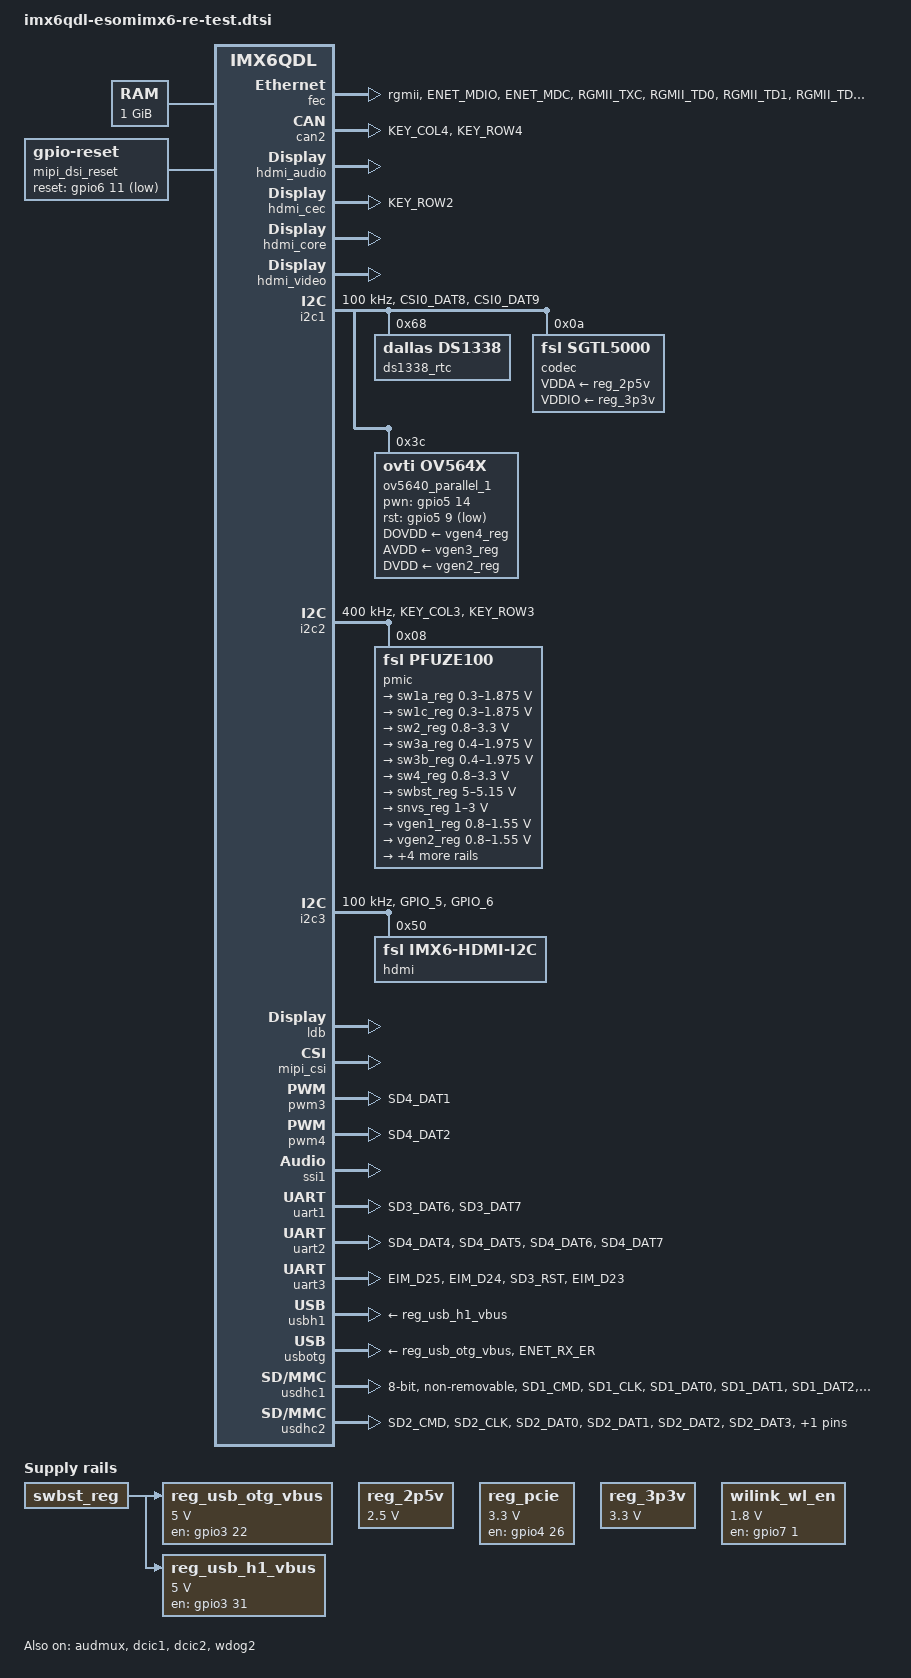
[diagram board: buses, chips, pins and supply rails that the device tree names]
/*
 * Copyright 2012-2015 Freescale Semiconductor, Inc.
 * Copyright 2011 Linaro Ltd.
 *
 * The code contained herein is licensed under the GNU General Public
 * License. You may obtain a copy of the GNU General Public License
 * Version 2 or later at the following locations:
 *
 * http://www.opensource.org/licenses/gpl-license.html
 * http://www.gnu.org/copyleft/gpl.html
 */

#include <dt-bindings/gpio/gpio.h>
#include <dt-bindings/input/input.h>

/ {
	aliases {
		mxcfb0 = &mxcfb1;
		mxcfb1 = &mxcfb2;
		mxcfb2 = &mxcfb3;
		mxcfb3 = &mxcfb4;
	};

	hannstar_cabc {
		compatible = "hannstar,cabc";
		lvds0 {
			gpios = <&gpio6 15 GPIO_ACTIVE_HIGH>;
		};
		lvds1 {
			gpios = <&gpio6 16 GPIO_ACTIVE_HIGH>;
		};
	};

	chosen {
		stdout-path = &uart1;
	};

	memory: memory {
		reg = <0x10000000 0x40000000>;
	};

	regulators {
		compatible = "simple-bus";
		#address-cells = <1>;
		#size-cells = <0>;

		reg_usb_otg_vbus: regulator@0 {
			compatible = "regulator-fixed";
			reg = <0>;
			regulator-name = "usb_otg_vbus";
			regulator-min-microvolt = <5000000>;
			regulator-max-microvolt = <5000000>;
			gpio = <&gpio3 22 0>;
			enable-active-high;
			vin-supply = <&swbst_reg>;
		};

		reg_usb_h1_vbus: regulator@1 {
			compatible = "regulator-fixed";
			reg = <1>;
			regulator-name = "usb_h1_vbus";
			regulator-min-microvolt = <5000000>;
			regulator-max-microvolt = <5000000>;
			gpio = <&gpio3 31 0>;
			enable-active-high;
			vin-supply = <&swbst_reg>;
		};

		reg_2p5v: regulator@2 {
			compatible = "regulator-fixed";
			reg = <2>;
			regulator-name = "2P5V";
			regulator-min-microvolt = <2500000>;
			regulator-max-microvolt = <2500000>;
			regulator-always-on;
		};

		reg_pcie: regulator@3 {
			compatible = "regulator-fixed";
			reg = <3>;
			pinctrl-names = "default";
			pinctrl-0 = <&pinctrl_pcie_reg>;
			regulator-name = "MPCIE_3V3";
			regulator-min-microvolt = <3300000>;
			regulator-max-microvolt = <3300000>;
			gpio = <&gpio4 26 0>;
			regulator-always-on;
			enable-active-high;
		};

		reg_3p3v: regulator@4 {
			compatible = "regulator-fixed";
			reg = <4>;
			regulator-name = "3P3V";
			regulator-min-microvolt = <3300000>;
			regulator-max-microvolt = <3300000>;
			regulator-always-on;
		};

		wilink_wl_en: regulator@5 {
			compatible = "regulator-fixed";
			reg = <5>;
			regulator-name = "wilink_wl_en";
			regulator-min-microvolt = <1800000>;
			regulator-max-microvolt = <1800000>;
			gpio = <&gpio7 1 0>; /* WIFI ENABLE GPIO */
			startup-delay-us = <70000>;
			output_high;
			enable-active-high;
		};

	};

	sound {
		compatible = "fsl,imx6q-esomimx6-sgtl5000",
			     "fsl,imx-audio-sgtl5000";
		model = "imx6q-esomimx6-sgtl5000";
		ssi-controller = <&ssi1>; /* not sure to which SSI ANKAA is connected to */
		audio-codec = <&codec>;
		asrc-controller = <&asrc>;
		audio-routing =
			"MIC_IN", "Mic Jack",
			"Mic Jack", "Mic Bias",
			"Headphone Jack", "HP_OUT";
		mux-int-port = <1>;
		mux-ext-port = <3>;
	};

	sound-hdmi {
		compatible = "fsl,imx6q-audio-hdmi",
			     "fsl,imx-audio-hdmi";
		model = "imx-audio-hdmi";
		hdmi-controller = <&hdmi_audio>;
	};
#if 0
	wlan {
		compatible = "ti,wilink8";
		interrupt-parent = <&gpio1>;
		interrupts = <07 0x04>;
		clocks = <&refclock>;
		clock-names = "refclock";
		 WiFi module enable GPIO; Required for proper fucntioning of WIFI down and up*/
/*		pwr-enable = <&gpio7 1 0>;

		refclock: refclock {
			compatible = "ti,wilink-clock";
			#clock-cells = <0>;
			clock-frequency = <38400000>;
		};
	};
*/
	wlan_bt_rfkill {
		compatible = "net,rfkill-gpio";
		name = "wlan_bt_rfkill";
		type = <2>;     /* bluetooth */
		gpios = <&gpio4 5 0>; /* BT enable */
	};
#endif
	mxcfb1: fb@0 {
		compatible = "fsl,mxc_sdc_fb";
		disp_dev = "ldb";
		interface_pix_fmt = "RGB666";
		default_bpp = <16>;
		int_clk = <0>;
		late_init = <0>;
		status = "disabled";
	};

	mxcfb2: fb@1 {
		compatible = "fsl,mxc_sdc_fb";
		disp_dev = "hdmi";
		interface_pix_fmt = "RGB24";
		mode_str ="1920x1080M@60";
		default_bpp = <24>;
		int_clk = <0>;
		late_init = <0>;
		status = "disabled";
	};

	mxcfb3: fb@2 {
		compatible = "fsl,mxc_sdc_fb";
		disp_dev = "lcd";
		interface_pix_fmt = "RGB565";
		mode_str ="CLAA-WVGA";
		default_bpp = <16>;
		int_clk = <0>;
		late_init = <0>;
		status = "disabled";
	};

	mxcfb4: fb@3 {
		compatible = "fsl,mxc_sdc_fb";
		disp_dev = "ldb";
		interface_pix_fmt = "RGB666";
		default_bpp = <16>;
		int_clk = <0>;
		late_init = <0>;
		status = "disabled";
	};
#if 0
	backlight_lvds0 {
		compatible = "pwm-backlight";
		pwms = <&pwm3 0 5000000>;
		brightness-levels = <0 4 8 16 32 64 128 255>;
		default-brightness-level = <7>;
 	};

	backlight_lvds1{
		compatible = "pwm-backlight";
		pwms = <&pwm4 0 5000000>;
		brightness-levels = <0 4 8 16 32 64 128 255>;
		default-brightness-level = <7>;
	};
#endif
	v4l2_cap_0 {
		compatible = "fsl,imx6q-v4l2-capture";
		ipu_id = <0>;
		csi_id = <0>;
		mclk_source = <0>;
		status = "okay";
	};

	v4l2_cap_1 {
		compatible = "fsl,imx6q-v4l2-capture";
		ipu_id = <0>;
		csi_id = <1>;
		mclk_source = <0>;
		status = "okay";
	};

	v4l2_out {
		compatible = "fsl,mxc_v4l2_output";
		status = "okay";
	};

	mipi_dsi_reset: mipi-dsi-reset {
		compatible = "gpio-reset";
		reset-gpios = <&gpio6 11 GPIO_ACTIVE_LOW>;
		reset-delay-us = <50>;
		#reset-cells = <0>;
	};
};

&audmux {
	pinctrl-names = "default";
	pinctrl-0 = <&pinctrl_audmux>;
	status = "okay";
};

&cpu0 {
	arm-supply = <&sw1a_reg>;
	soc-supply = <&sw1c_reg>;
};

&clks {
	fsl,ldb-di0-parent = <&clks IMX6QDL_CLK_PLL2_PFD0_352M>;
	fsl,ldb-di1-parent = <&clks IMX6QDL_CLK_PLL2_PFD0_352M>;
};

#if 0
/* eSOMiMX6 does not have SPI NOR flash mounted */
&ecspi1 {
	fsl,spi-num-chipselects = <1>;
	cs-gpios = <&gpio3 19 0>;
	pinctrl-names = "default";
	pinctrl-0 = <&pinctrl_ecspi1>;
	status = "okay";

};
#endif

/* eSOMiMX6 supports two chip selects for ECSPI2; Since CSO is connected to SPI connector in ANKAA
   and CS1 is connected to GPIO header, properties has been defined as if only one chip select is
   supported */
#if 0
&ecspi2 {
	fsl,spi-num-chipselects = <1>;
	cs-gpios = <&gpio2 26 0>;
	pinctrl-names = "default";
	pinctrl-0 = <&pinctrl_ecspi2>;
	status = "okay";
};
#endif
&fec {
	pinctrl-names = "default";
	pinctrl-0 = <&pinctrl_enet>;
	phy-mode = "rgmii";
	phy-reset-gpios = <&gpio1 27 0>;
	fsl,magic-packet;
	status = "okay";
};

/* In ANKAA, CAN1 signals are connected to GPIO header */
#if 0
&can1 {
	pinctrl-names = "default";
	pinctrl-0 = <&pinctrl_can1>;
	status = "okay";
};
#endif

&can2 {
	pinctrl-names = "default";
	pinctrl-0 = <&pinctrl_can2>;
	status = "okay";
};

&gpc {
	fsl,ldo-bypass = <1>;
};

&dcic1 {
	dcic_id = <0>;
	dcic_mux = "dcic-hdmi";
	status = "okay";
};

&dcic2 {
	dcic_id = <1>;
	dcic_mux = "dcic-lvds1";
	status = "okay";
};

&hdmi_audio {
	status = "okay";
};

&hdmi_cec {
	pinctrl-names = "default";
	pinctrl-0 = <&pinctrl_hdmi_cec>;
	status = "okay";
};

&hdmi_core {
	ipu_id = <0>;
	disp_id = <0>;
	status = "okay";
};

&hdmi_video {
	fsl,phy_reg_vlev = <0x0294>;
	fsl,phy_reg_cksymtx = <0x800d>;
	status = "okay";
};

&i2c1 {
	clock-frequency = <100000>;
	pinctrl-names = "default";
	pinctrl-0 = <&pinctrl_i2c1>;
	status = "okay";

	/* esomimx6 : lvds0 touch new driver*/
#if 0
	pixcir_ts@5C {
		compatible = "pixcir,pixcir_tangoc";
		reg = <0x5C>;
		interrupt-parent = <&gpio4>;
		interrupts = <23 2>;
		attb-gpio = <&gpio4 23 0>;
		touchscreen-size-x = <800>;
		touchscreen-size-y = <480>;
        };

	/* esomimx6 : lvds0 touch */
	egalax_ts@04 {
                compatible = "eeti,egalax_ts";
                reg = <0x04>;
                interrupt-parent = <&gpio4>;
                interrupts = <23 2>;
                wakeup-gpios = <&gpio4 23 0>;
        };
#endif
	ds1338_rtc@68 {
		compatible = "dallas,ds1338";
		reg = <0x68>;
	};

	codec: sgtl5000@0a {
		compatible = "fsl,sgtl5000";
		reg = <0x0a>;
		clocks = <&clks 201>;
		VDDA-supply = <&reg_2p5v>;
		VDDIO-supply = <&reg_3p3v>;
	};

	/* ov5640 parallel camera 1 */
	ov5640_parallel_1: ov5640@3c {
		compatible = "ovti,ov564x";
		reg = <0x3c>;
		pinctrl-names = "default";
		pinctrl-0 = <&pinctrl_ipu1_2>;
		clocks = <&clks 201>;
		clock-names = "csi_mclk";
		DOVDD-supply = <&vgen4_reg>; /* 1.8v */
		AVDD-supply = <&vgen3_reg>;  /* 2.8v, on rev C board is VGEN3,
						on rev B board is VGEN5 */
		DVDD-supply = <&vgen2_reg>;  /* 1.5v*/
		pwn-gpios = <&gpio5 14 0>;   /* active low: SD1_DAT0 */
		rst-gpios = <&gpio5 9 1>;   /* active high: SD1_DAT1 */
		ipu_id = <0>;
		csi_id = <0>;
		mclk = <24000000>;
		mclk_source = <0>;
	};
#if 0
	mt9p031_parallel_1: mt9p031@48 {
		compatible = "mt9p031m";
		reg = <0x48>;
		pinctrl-names = "default";
		pinctrl-0 = <&pinctrl_ipu1_2>;
		clocks = <&clks 201>;
		clock-names = "csi_mclk";
		DOVDD-supply = <&vgen4_reg>; /* 1.8v */ /* Not sure of these three values */
		AVDD-supply = <&vgen3_reg>;  /* 2.8v, on rev C board is VGEN3,
						on rev B board is VGEN5 */
		DVDD-supply = <&vgen4_reg>;  /* 1.8v*/
		/* If proper GPIOs are given here, camera modules with proper GPIOs are not working
		   So, GPIOs are not given proper here. TODO: Given proper GPIOs and make camera modules
		   with porper GPIOs to work here
		*/
		pwn-gpios = <&gpio5 14 0>; /* eSOMiMX6*/
		rst-gpios = <&gpio5 9 1>;  /* eSOMiMX6 */
		ipu_id = <0>;
		csi_id = <0>;
		mclk = <24000000>;
		mclk_source = <0>;
	};
	/* ov10633 parallel camera 1 */
	ov10633_parallel_1: ov10633@30 {
		compatible = "ovti,ov10633";
		reg = <0x30>;
		pinctrl-names = "default";
		pinctrl-0 = <&pinctrl_ipu1_2>;
		clocks = <&clks 201>;
		clock-names = "csi_mclk";
		DOVDD-supply = <&vgen4_reg>; /* 1.8v */ /* Not sure of these three values */
 		AVDD-supply = <&vgen3_reg>;  /* 2.8v, on rev C board is VGEN3,
 						on rev B board is VGEN5 */
 		DVDD-supply = <&vgen2_reg>;  /* 1.5v*/
		pwn-gpios = <&gpio5 14 1>; /* eSOMiMX6 */
		rst-gpios = <&gpio5 9 0>; /* eSOMiMX6 */
		ipu_id = <0>;
 		csi_id = <0>;
 		mclk = <24000000>;
 		mclk_source = <0>;
 	};
#endif
};

&i2c2 {
	clock-frequency = <400000>;
	pinctrl-names = "default";
	pinctrl-0 = <&pinctrl_i2c2>;
	status = "okay";
#if 0
	ov5640_mipi: ov5640_mipi@3c { /* i2c2 driver */
		compatible = "ovti,ov5640_mipi";
		reg = <0x3c>;
		clocks = <&clks 201>;
		clock-names = "csi_mclk";
		DOVDD-supply = <&vgen4_reg>; /* 1.8v */
		AVDD-supply = <&vgen3_reg>;  /* 2.8v, rev C board is VGEN3
						rev B board is VGEN5 */
		DVDD-supply = <&vgen2_reg>;  /* 1.5v*/
		pwn-gpios = <&gpio1 19 1>;   /* active low: SD1_CLK */
		rst-gpios = <&gpio1 20 0>;   /* active high: SD1_DAT2 */
		ipu_id = <0>;
		csi_id = <1>;
		vc = <0>;
		mclk = <24000000>;
		mclk_source = <0>;
		status="okay";
 	};

	/* esomimx6 : lvds1 touch new driver*/

	pixcir_ts@5C {
		compatible = "pixcir,pixcir_tangoc";
		reg = <0x5C>;
		interrupt-parent = <&gpio4>;
		interrupts = <24 2>;
		attb-gpio = <&gpio4 24 0>;
		touchscreen-size-x = <800>;
		touchscreen-size-y = <480>;
	};

	/* ANKAA : lvds1 touch */
        egalax_ts@04 {
                compatible = "eeti,egalax_ts";
                reg = <0x04>;
                interrupt-parent = <&gpio4>;
                interrupts = <24 2>;
                wakeup-gpios = <&gpio4 24 0>;
        };

	ov8825_mipi: ov8825_mipi@24 { /* i2c2 driver */
		compatible = "ovti,ov8825_mipi";
		reg = <0x24>;
		clocks = <&clks 201>;
		clock-names = "csi_mclk";
		DOVDD-supply = <&vgen4_reg>; /* 1.8v */
		AVDD-supply = <&vgen3_reg>;  /* 2.8v, rev C board is VGEN3
						rev B board is VGEN5 */
		DVDD-supply = <&vgen2_reg>;  /* 1.5v*/
		pwn-gpios = <&gpio1 19 1>;   /* active low: SD1_CLK */
		rst-gpios = <&gpio1 20 0>;   /* active high: SD1_DAT2 */
		ipu_id = <0>;
		csi_id = <1>;
		vc = <0>;
		mclk = <24000000>;
		mclk_source = <0>;
		status="okay";
	};
#endif
	pmic: pfuze100@08 {
		compatible = "fsl,pfuze100";
		reg = <0x08>;

		regulators {
			sw1a_reg: sw1ab {
				regulator-min-microvolt = <300000>;
				regulator-max-microvolt = <1875000>;
				regulator-boot-on;
				regulator-always-on;
				regulator-ramp-delay = <6250>;
			};

			sw1c_reg: sw1c {
				regulator-min-microvolt = <300000>;
				regulator-max-microvolt = <1875000>;
				regulator-boot-on;
				regulator-always-on;
				regulator-ramp-delay = <6250>;
			};

			sw2_reg: sw2 {
				regulator-min-microvolt = <800000>;
				regulator-max-microvolt = <3300000>;
				regulator-boot-on;
				regulator-always-on;
				regulator-ramp-delay = <6250>;
			};

			sw3a_reg: sw3a {
				regulator-min-microvolt = <400000>;
				regulator-max-microvolt = <1975000>;
				regulator-boot-on;
				regulator-always-on;
			};

			sw3b_reg: sw3b {
				regulator-min-microvolt = <400000>;
				regulator-max-microvolt = <1975000>;
				regulator-boot-on;
				regulator-always-on;
			};

			sw4_reg: sw4 {
				regulator-min-microvolt = <800000>;
				regulator-max-microvolt = <3300000>;
			};

			swbst_reg: swbst {
				regulator-min-microvolt = <5000000>;
				regulator-max-microvolt = <5150000>;
			};

			snvs_reg: vsnvs {
				regulator-min-microvolt = <1000000>;
				regulator-max-microvolt = <3000000>;
				regulator-boot-on;
				regulator-always-on;
			};

			vref_reg: vrefddr {
				regulator-boot-on;
				regulator-always-on;
			};

			vgen1_reg: vgen1 {
				regulator-min-microvolt = <800000>;
				regulator-max-microvolt = <1550000>;
			};

			vgen2_reg: vgen2 {
				regulator-min-microvolt = <800000>;
				regulator-max-microvolt = <1550000>;
			};

			vgen3_reg: vgen3 {
				regulator-min-microvolt = <2500000>;
				regulator-max-microvolt = <2500000>;
				regulator-boot-on;
				regulator-always-on;
			};

			vgen4_reg: vgen4 {
				regulator-min-microvolt = <1800000>;
				regulator-max-microvolt = <1800000>;
				regulator-boot-on;
				regulator-always-on;
			};

			vgen5_reg: vgen5 {
				regulator-min-microvolt = <2800000>;
				regulator-max-microvolt = <2800000>;
			};

			vgen6_reg: vgen6 {
				regulator-min-microvolt = <1800000>;
				regulator-max-microvolt = <3300000>;
			};
		};
	};
};

&i2c3 {
	clock-frequency = <100000>;
	pinctrl-names = "default";
	pinctrl-0 = <&pinctrl_i2c3>;
	status = "okay";

	hdmi: edid@50 {
		compatible = "fsl,imx6-hdmi-i2c";
		reg = <0x50>;
 	};
};

&iomuxc {
	pinctrl-names = "default";
	pinctrl-0 = <&pinctrl_hog>;

	imx6qdl-sabresd {
		pinctrl_hog: hoggrp {
			fsl,pins = <
				MX6QDL_PAD_GPIO_0__CCM_CLKO1 0x80000000 /* Audio codec clock */
				MX6QDL_PAD_GPIO_8__XTALOSC_REF_CLK_32K 0x0001B0B0 /* WiFi clock */
				MX6QDL_PAD_NANDF_CS3__GPIO6_IO16 0x80000000 /* eMMC nRST; Not yet used */
				MX6QDL_PAD_EIM_D26__GPIO3_IO26 0x80000000 /* emergency shutdown */
				MX6QDL_PAD_ENET_RXD0__GPIO1_IO27 0x80000000 /* RGMII nRST; Not yet used */
				MX6QDL_PAD_ENET_TXD1__GPIO1_IO29 0x80000000 /* Indication LED2 */
				MX6QDL_PAD_EIM_D29__GPIO3_IO29 0x80000000 /* BT_MOD_WU, need to know the purpose */
				/* GPIO header in ANKAA board */
				/* MIPI DSI lines are not clocked since they cannot be multiplexed */
				/* I2C3 lines are not muxed here as GPIO header since they are connected to HDMI display */
#if 0
				MX6QDL_PAD_GPIO_9__GPIO1_IO09 0x80000000
				MX6QDL_PAD_GPIO_1__GPIO1_IO01 0x80000000
				MX6QDL_PAD_EIM_LBA__GPIO2_IO27 0x80000000
				MX6QDL_PAD_DISP0_DAT22__GPIO5_IO16 0x80000000
				MX6QDL_PAD_DI0_DISP_CLK__GPIO4_IO16 0x80000000 /* Need to know if this will work? */
				MX6QDL_PAD_DISP0_DAT9__GPIO4_IO30 0x80000000
				MX6QDL_PAD_DISP0_DAT23__GPIO5_IO17 0x80000000
				MX6QDL_PAD_EIM_D20__GPIO3_IO20 0x80000000
				MX6QDL_PAD_SD4_CLK__GPIO7_IO10 0x80000000
				MX6QDL_PAD_SD4_CMD__GPIO7_IO09 0x80000000
				MX6QDL_PAD_SD4_DAT0__GPIO2_IO08 0x80000000
				MX6QDL_PAD_SD4_DAT3__GPIO2_IO11 0x80000000
				MX6QDL_PAD_EIM_DA14__GPIO3_IO14 0x80000000
				MX6QDL_PAD_EIM_DA15__EIM_AD15 0x80000000
				MX6QDL_PAD_DI0_PIN4__GPIO4_IO20 0x80000000
				MX6QDL_PAD_DISP0_DAT18__GPIO5_IO12 0x80000000
				MX6QDL_PAD_DI0_PIN2__GPIO4_IO18 0x80000000
				MX6QDL_PAD_DI0_PIN3__GPIO4_IO19 0x80000000
				MX6QDL_PAD_DI0_PIN15__GPIO4_IO17 0x80000000
				MX6QDL_PAD_KEY_ROW2__GPIO4_IO11 0x80000000
				MX6QDL_PAD_KEY_COL2__GPIO4_IO10 0x80000000
				MX6QDL_PAD_GPIO_16__GPIO7_IO11 0x80000000
				MX6QDL_PAD_GPIO_17__GPIO7_IO12 0x80000000
				MX6QDL_PAD_EIM_DA13__GPIO3_IO13 0x80000000
				/* End of GPIO headers */
#endif

#if 1
				/* RE testing GPIOs */
				MX6QDL_PAD_EIM_DA13__GPIO3_IO13	0x00003040
#if 0
				MX6QDL_PAD_GPIO_5__GPIO1_IO05	0x00003040
				MX6QDL_PAD_GPIO_6__GPIO1_IO06	0x00003040
#endif
				MX6QDL_PAD_EIM_DA15__GPIO3_IO15	0x00003040
				MX6QDL_PAD_GPIO_17__GPIO7_IO12	0x00003040
				MX6QDL_PAD_GPIO_16__GPIO7_IO11	0x00003040
#if 0
				MX6QDL_PAD_KEY_COL4__GPIO4_IO14	0x00003040
#endif
				MX6QDL_PAD_GPIO_3__GPIO1_IO03	0x00003040
				MX6QDL_PAD_KEY_ROW4__GPIO4_IO15	0x00003040
				MX6QDL_PAD_GPIO_1__GPIO1_IO01	0x00003040
#if 0
				MX6QDL_PAD_CSI0_DAT9__GPIO5_IO27	0x00003040
				MX6QDL_PAD_CSI0_DAT8__GPIO5_IO26	0x00003040
#endif
				MX6QDL_PAD_SD4_CLK__GPIO7_IO10	0x00003040
				MX6QDL_PAD_GPIO_9__GPIO1_IO09	0x00003040
				MX6QDL_PAD_KEY_ROW2__GPIO4_IO11	0x00003040
				MX6QDL_PAD_KEY_COL2__GPIO4_IO10	0x00003040
				MX6QDL_PAD_SD4_CMD__GPIO7_IO09	0x00003040
#if 0
				MX6QDL_PAD_GPIO_9__GPIO1_IO09	0x00003040
				MX6QDL_PAD_CSI0_DAT13__GPIO5_IO31	0x00003040
				MX6QDL_PAD_CSI0_DAT17__GPIO6_IO03	0x00003040
				MX6QDL_PAD_CSI0_DAT11__GPIO5_IO29	0x00003040
#endif
				MX6QDL_PAD_EIM_DA14__GPIO3_IO14	0x00003040
#if 0
				MX6QDL_PAD_CSI0_DAT10__GPIO5_IO28	0x00003040
				MX6QDL_PAD_CSI0_DAT12__GPIO5_IO30	0x00003040
				MX6QDL_PAD_CSI0_DAT19__GPIO6_IO05	0x00003040	/* 26 */
				MX6QDL_PAD_EIM_D22__GPIO3_IO22	0x00003040
				MX6QDL_PAD_CSI0_DAT16__GPIO6_IO02	0x00003040
				MX6QDL_PAD_CSI0_PIXCLK__GPIO5_IO18	0x00003040
				MX6QDL_PAD_CSI0_VSYNC__GPIO5_IO21	0x00003040
				MX6QDL_PAD_CSI0_DAT15__GPIO6_IO01	0x00003040
				MX6QDL_PAD_CSI0_DAT18__GPIO6_IO04	0x00003040
				MX6QDL_PAD_CSI0_DAT14__GPIO6_IO00	0x00003040
				MX6QDL_PAD_CSI0_MCLK__GPIO5_IO19	0x00003040
#endif
				MX6QDL_PAD_EIM_D21__GPIO3_IO21	0x00003040
#if 0
				MX6QDL_PAD_CSI0_DATA_EN__GPIO5_IO20	0x00003040
				MX6QDL_PAD_ENET_RX_ER__GPIO1_IO24	0x00003040
#endif
				MX6QDL_PAD_SD4_DAT3__GPIO2_IO11	0x00003040
				MX6QDL_PAD_SD4_DAT1__GPIO2_IO09	0x00003040
				MX6QDL_PAD_SD4_DAT0__GPIO2_IO08	0x00003040
				MX6QDL_PAD_SD4_DAT3__GPIO2_IO11	0x00003040
				MX6QDL_PAD_EIM_CS1__GPIO2_IO24	0x00003040
				MX6QDL_PAD_EIM_RW__GPIO2_IO26	0x00003040
				MX6QDL_PAD_EIM_OE__GPIO2_IO25	0x00003040
				MX6QDL_PAD_EIM_LBA__GPIO2_IO27	0x00003040
				MX6QDL_PAD_EIM_CS0__GPIO2_IO23	0x00003040
				MX6QDL_PAD_EIM_D20__GPIO3_IO20	0x00003040	/* 156 */
#if 0
				MX6QDL_PAD_EIM_DA2__GPIO3_IO02	0x00003040
				MX6QDL_PAD_EIM_DA11__GPIO3_IO11	0x00003040
				MX6QDL_PAD_EIM_A20__GPIO2_IO18	0x00003040
				MX6QDL_PAD_EIM_DA0__GPIO3_IO00	0x00003040
				MX6QDL_PAD_EIM_A23__GPIO6_IO06	0x00003040
				MX6QDL_PAD_EIM_A24__GPIO5_IO04	0x00003040
				MX6QDL_PAD_EIM_A19__GPIO2_IO19	0x00003040
				MX6QDL_PAD_EIM_A22__GPIO2_IO16	0x00003040
				MX6QDL_PAD_EIM_A17__GPIO2_IO21	0x00003040
				MX6QDL_PAD_EIM_A18__GPIO2_IO20	0x00003040
				MX6QDL_PAD_EIM_DA1__GPIO3_IO01	0x00003040
				MX6QDL_PAD_EIM_A16__GPIO2_IO22	0x00003040
				MX6QDL_PAD_EIM_EB1__GPIO2_IO29	0x00003040
				MX6QDL_PAD_EIM_A21__GPIO2_IO17	0x00003040
				MX6QDL_PAD_EIM_EB0__GPIO2_IO28	0x00003040
				MX6QDL_PAD_EIM_DA4__GPIO3_IO04	0x00003040
				MX6QDL_PAD_EIM_DA10__GPIO3_IO10	0x00003040
				MX6QDL_PAD_EIM_DA3__GPIO3_IO03	0x00003040
				MX6QDL_PAD_EIM_DA9__GPIO3_IO09	0x00003040
				MX6QDL_PAD_EIM_DA6__GPIO3_IO06	0x00003040
				MX6QDL_PAD_EIM_DA5__GPIO3_IO05	0x00003040
				MX6QDL_PAD_EIM_DA7__GPIO3_IO07	0x00003040
				MX6QDL_PAD_EIM_DA12__GPIO3_IO12	0x00003040
				MX6QDL_PAD_EIM_DA8__GPIO3_IO08	0x00003040
#endif
				MX6QDL_PAD_DI0_PIN3__GPIO4_IO19	0x00003040
				MX6QDL_PAD_DI0_PIN15__GPIO4_IO17	0x00003040
#if 0
				MX6QDL_PAD_DISP0_DAT10__GPIO4_IO31	0x00003040
#endif
				MX6QDL_PAD_DISP0_DAT3__GPIO4_IO24	0x00003040
				MX6QDL_PAD_DISP0_DAT13__GPIO5_IO07	0x00003040
				MX6QDL_PAD_DI0_PIN2__GPIO4_IO18	0x00003040
				MX6QDL_PAD_DISP0_DAT1__GPIO4_IO22	0x00003040
				MX6QDL_PAD_DI0_PIN4__GPIO4_IO20	0x00003040
				MX6QDL_PAD_DISP0_DAT6__GPIO4_IO27	0x00003040
				MX6QDL_PAD_DISP0_DAT0__GPIO4_IO21	0x00003040
				MX6QDL_PAD_DI0_DISP_CLK__GPIO4_IO16	0x00003040
				MX6QDL_PAD_DISP0_DAT8__GPIO4_IO29	0x00003040
				MX6QDL_PAD_DISP0_DAT2__GPIO4_IO23	0x00003040
				MX6QDL_PAD_DISP0_DAT12__GPIO5_IO06	0x00003040
				MX6QDL_PAD_DISP0_DAT7__GPIO4_IO28	0x00003040
				MX6QDL_PAD_DISP0_DAT9__GPIO4_IO30	0x00003040
				MX6QDL_PAD_DISP0_DAT5__GPIO4_IO26	0x00003040
				MX6QDL_PAD_DISP0_DAT15__GPIO5_IO09	0x00003040
#if 0
				MX6QDL_PAD_DISP0_DAT11__GPIO5_IO05	0x00003040
#endif
				MX6QDL_PAD_DISP0_DAT19__GPIO5_IO13	0x00003040
				MX6QDL_PAD_DISP0_DAT14__GPIO5_IO08	0x00003040
				MX6QDL_PAD_DISP0_DAT17__GPIO5_IO11	0x00003040
				MX6QDL_PAD_DISP0_DAT18__GPIO5_IO12	0x00003040
				MX6QDL_PAD_DISP0_DAT22__GPIO5_IO16	0x00003040
				MX6QDL_PAD_DISP0_DAT23__GPIO5_IO17	0x00003040
				MX6QDL_PAD_DISP0_DAT20__GPIO5_IO14	0x00003040
				MX6QDL_PAD_DISP0_DAT21__GPIO5_IO15	0x00003040
#if 0
				MX6QDL_PAD_DISP0_DAT16__GPIO5_IO10	0x00003040			
#endif
				MX6QDL_PAD_EIM_D18__GPIO3_IO18	0x00003040
				MX6QDL_PAD_EIM_D17__GPIO3_IO17	0x00003040
				MX6QDL_PAD_EIM_D19__GPIO3_IO19	0x00003040
				MX6QDL_PAD_EIM_D16__GPIO3_IO16	0x00003040
				MX6QDL_PAD_GPIO_18__GPIO7_IO13	0x00003040
				
#endif


			>;
		};

		pinctrl_audmux: audmuxgrp {
			fsl,pins = <
				MX6QDL_PAD_CSI0_DAT7__AUD3_RXD		0x130b0
				MX6QDL_PAD_CSI0_DAT4__AUD3_TXC		0x130b0
				MX6QDL_PAD_CSI0_DAT5__AUD3_TXD		0x110b0
				MX6QDL_PAD_CSI0_DAT6__AUD3_TXFS		0x130b0
			>;
		};

		pinctrl_ecspi1: ecspi1grp {
			fsl,pins = <
				MX6QDL_PAD_EIM_D17__ECSPI1_MISO		0x100b1
				MX6QDL_PAD_EIM_D18__ECSPI1_MOSI		0x100b1
				MX6QDL_PAD_EIM_D16__ECSPI1_SCLK		0x100b1

			>;
		};

		pinctrl_ecspi2: ecspi2grp {
			fsl,pins = <
				MX6QDL_PAD_EIM_OE__ECSPI2_MISO		0x100b1
				MX6QDL_PAD_EIM_CS0__ECSPI2_SCLK		0x100b1
				MX6QDL_PAD_EIM_CS1__ECSPI2_MOSI		0x100b1
			>;
		};

		pinctrl_can1: can1grp {
			fsl,pins = <
				MX6QDL_PAD_KEY_ROW2__FLEXCAN1_RX	0x80000000
				MX6QDL_PAD_KEY_COL2__FLEXCAN1_TX	0x80000000
			>;
		};

		pinctrl_can2: can2grp {
			fsl,pins = <
				MX6QDL_PAD_KEY_COL4__FLEXCAN2_TX   	0x80000000
				MX6QDL_PAD_KEY_ROW4__FLEXCAN2_RX 	0x80000000
 			>;
 		};
 

		pinctrl_i2c2_egalax_int: egalax_i2c2_intgrp {
			fsl,pins = <
				MX6QDL_PAD_NANDF_ALE__GPIO6_IO08 0x80000000
			>;
		};

		pinctrl_i2c3_egalax_int: egalax_i2c3_intgrp {
			fsl,pins = <
				MX6QDL_PAD_NANDF_CLE__GPIO6_IO07 0x80000000
			>;
		};

		pinctrl_enet: enetgrp {
			fsl,pins = <
				MX6QDL_PAD_ENET_MDIO__ENET_MDIO		0x1b0b0
				MX6QDL_PAD_ENET_MDC__ENET_MDC		0x1b0b0
				MX6QDL_PAD_RGMII_TXC__RGMII_TXC		0x1b0b0
				MX6QDL_PAD_RGMII_TD0__RGMII_TD0		0x1b0b0
				MX6QDL_PAD_RGMII_TD1__RGMII_TD1		0x1b0b0
				MX6QDL_PAD_RGMII_TD2__RGMII_TD2		0x1b0b0
				MX6QDL_PAD_RGMII_TD3__RGMII_TD3		0x1b0b0
				MX6QDL_PAD_RGMII_TX_CTL__RGMII_TX_CTL	0x1b0b0
				MX6QDL_PAD_ENET_REF_CLK__ENET_TX_CLK	0x1b0b0
				MX6QDL_PAD_RGMII_RXC__RGMII_RXC		0x1b0b0
				MX6QDL_PAD_RGMII_RD0__RGMII_RD0		0x1b0b0
				MX6QDL_PAD_RGMII_RD1__RGMII_RD1		0x1b0b0
				MX6QDL_PAD_RGMII_RD2__RGMII_RD2		0x1b0b0
				MX6QDL_PAD_RGMII_RD3__RGMII_RD3		0x1b0b0
				MX6QDL_PAD_RGMII_RX_CTL__RGMII_RX_CTL	0x1b0b0
				MX6QDL_PAD_GPIO_16__ENET_REF_CLK	0x4001b0a8
			>;
		};

		pinctrl_hdmi_cec: hdmicecgrp {
			fsl,pins = <
				MX6QDL_PAD_KEY_ROW2__HDMI_TX_CEC_LINE 0x108b0
			>;
		};

		pinctrl_hdmi_hdcp: hdmihdcpgrp {
			fsl,pins = <
				MX6QDL_PAD_KEY_COL3__HDMI_TX_DDC_SCL 0x4001b8b1
				MX6QDL_PAD_KEY_ROW3__HDMI_TX_DDC_SDA 0x4001b8b1
			>;
		};

		pinctrl_i2c1: i2c1grp {
			fsl,pins = <
				MX6QDL_PAD_CSI0_DAT8__I2C1_SDA		0x4001b8b1
				MX6QDL_PAD_CSI0_DAT9__I2C1_SCL		0x4001b8b1
			>;
		};

		pinctrl_i2c2: i2c2grp {
			fsl,pins = <
				MX6QDL_PAD_KEY_COL3__I2C2_SCL		0x4001b8b1
				MX6QDL_PAD_KEY_ROW3__I2C2_SDA		0x4001b8b1
			>;
		};

		pinctrl_i2c3: i2c3grp {
			fsl,pins = <
				MX6QDL_PAD_GPIO_5__I2C3_SCL		0x4001b8b1
				MX6QDL_PAD_GPIO_6__I2C3_SDA		0x4001b8b1
			>;
		};

		pinctrl_ipu1: ipu1grp {
			fsl,pins = <
				MX6QDL_PAD_DI0_DISP_CLK__IPU1_DI0_DISP_CLK 0x10
				MX6QDL_PAD_DI0_PIN15__IPU1_DI0_PIN15       0x10
				MX6QDL_PAD_DI0_PIN2__IPU1_DI0_PIN02        0x10
				MX6QDL_PAD_DI0_PIN3__IPU1_DI0_PIN03        0x10
				MX6QDL_PAD_DI0_PIN4__IPU1_DI0_PIN04        0x80000000
				MX6QDL_PAD_DISP0_DAT0__IPU1_DISP0_DATA00   0x10
				MX6QDL_PAD_DISP0_DAT1__IPU1_DISP0_DATA01   0x10
				MX6QDL_PAD_DISP0_DAT2__IPU1_DISP0_DATA02   0x10
				MX6QDL_PAD_DISP0_DAT3__IPU1_DISP0_DATA03   0x10
				MX6QDL_PAD_DISP0_DAT4__IPU1_DISP0_DATA04   0x10
				MX6QDL_PAD_DISP0_DAT5__IPU1_DISP0_DATA05   0x10
				MX6QDL_PAD_DISP0_DAT6__IPU1_DISP0_DATA06   0x10
				MX6QDL_PAD_DISP0_DAT7__IPU1_DISP0_DATA07   0x10
				MX6QDL_PAD_DISP0_DAT8__IPU1_DISP0_DATA08   0x10
				MX6QDL_PAD_DISP0_DAT9__IPU1_DISP0_DATA09   0x10
				MX6QDL_PAD_DISP0_DAT10__IPU1_DISP0_DATA10  0x10
				MX6QDL_PAD_DISP0_DAT11__IPU1_DISP0_DATA11  0x10
				MX6QDL_PAD_DISP0_DAT12__IPU1_DISP0_DATA12  0x10
				MX6QDL_PAD_DISP0_DAT13__IPU1_DISP0_DATA13  0x10
				MX6QDL_PAD_DISP0_DAT14__IPU1_DISP0_DATA14  0x10
				MX6QDL_PAD_DISP0_DAT15__IPU1_DISP0_DATA15  0x10
				MX6QDL_PAD_DISP0_DAT16__IPU1_DISP0_DATA16  0x10
				MX6QDL_PAD_DISP0_DAT17__IPU1_DISP0_DATA17  0x10
				MX6QDL_PAD_DISP0_DAT18__IPU1_DISP0_DATA18  0x10
				MX6QDL_PAD_DISP0_DAT19__IPU1_DISP0_DATA19  0x10
				MX6QDL_PAD_DISP0_DAT20__IPU1_DISP0_DATA20  0x10
				MX6QDL_PAD_DISP0_DAT21__IPU1_DISP0_DATA21  0x10
				MX6QDL_PAD_DISP0_DAT22__IPU1_DISP0_DATA22  0x10
				MX6QDL_PAD_DISP0_DAT23__IPU1_DISP0_DATA23  0x10
			>;
		};

		pinctrl_ipu1_2: ipu1grp-2 { /* parallel camera */
			fsl,pins = <
				MX6QDL_PAD_CSI0_DAT10__IPU1_CSI0_DATA10    0x0001B0B0
				MX6QDL_PAD_CSI0_DAT11__IPU1_CSI0_DATA11    0x0001B0B0
				MX6QDL_PAD_CSI0_DAT12__IPU1_CSI0_DATA12    0x0001B0B0
				MX6QDL_PAD_CSI0_DAT13__IPU1_CSI0_DATA13    0x0001B0B0
				MX6QDL_PAD_CSI0_DAT14__IPU1_CSI0_DATA14    0x0001B0B0
				MX6QDL_PAD_CSI0_DAT15__IPU1_CSI0_DATA15    0x0001B0B0
				MX6QDL_PAD_CSI0_DAT16__IPU1_CSI0_DATA16    0x0001B0B0
				MX6QDL_PAD_CSI0_DAT17__IPU1_CSI0_DATA17    0x0001B0B0
				MX6QDL_PAD_CSI0_DAT18__IPU1_CSI0_DATA18    0x0001B0B0
				MX6QDL_PAD_CSI0_DAT19__IPU1_CSI0_DATA19    0x0001B0B0
				MX6QDL_PAD_CSI0_DATA_EN__IPU1_CSI0_DATA_EN 0x0001B0B0
				MX6QDL_PAD_CSI0_PIXCLK__IPU1_CSI0_PIXCLK   0x0001B0B0
				MX6QDL_PAD_CSI0_MCLK__IPU1_CSI0_HSYNC      0x0001B0B0
				MX6QDL_PAD_CSI0_VSYNC__IPU1_CSI0_VSYNC     0x0001B0B0
			>;
		};

		pinctrl_pcie: pciegrp {
			fsl,pins = <
				MX6QDL_PAD_DISP0_DAT6__GPIO4_IO27	0x1b0b0
			>;
		};

		pinctrl_pcie_reg: pciereggrp {
			fsl,pins = <
				MX6QDL_PAD_DISP0_DAT5__GPIO4_IO26	0x1b0b0
			>;
		};

		pinctrl_pwm3: pwm3grp {
			fsl,pins = <
				MX6QDL_PAD_SD4_DAT1__PWM3_OUT		0x1b0b1
			>;
		};

		pinctrl_pwm4: pwm4grp {
			fsl,pins = <
				MX6QDL_PAD_SD4_DAT2__PWM4_OUT		0x1b0b1
			>;
		};

		pinctrl_uart1: uart1grp {
			fsl,pins = <
				MX6QDL_PAD_SD3_DAT6__UART1_RX_DATA	0x1b0b1
				MX6QDL_PAD_SD3_DAT7__UART1_TX_DATA	0x1b0b1
			>;
		};

		pinctrl_uart2: uart2grp {
			fsl,pins = <
				MX6QDL_PAD_SD4_DAT4__UART2_RX_DATA	0x1b0b1
				MX6QDL_PAD_SD4_DAT5__UART2_RTS_B	0x1b0b1
				MX6QDL_PAD_SD4_DAT6__UART2_CTS_B	0x1b0b1
				MX6QDL_PAD_SD4_DAT7__UART2_TX_DATA	0x1b0b1

			>;
		};

		pinctrl_uart3: uart3grp {
 			fsl,pins = <
				MX6QDL_PAD_EIM_D25__UART3_RX_DATA	0x1b0b1
				MX6QDL_PAD_EIM_D24__UART3_TX_DATA	0x1b0b1
				MX6QDL_PAD_SD3_RST__UART3_RTS_B		0x1b0b1
				MX6QDL_PAD_EIM_D23__UART3_CTS_B		0x1b0b1
 			>;
 		};
		pinctrl_usbotg: usbotggrp {
			fsl,pins = <
				MX6QDL_PAD_ENET_RX_ER__USB_OTG_ID	0x17059
			>;
		};

		pinctrl_usdhc1: usdhc1grp {
			fsl,pins = <
				MX6QDL_PAD_SD1_CMD__SD1_CMD		0x17071
				MX6QDL_PAD_SD1_CLK__SD1_CLK		0x10071
				MX6QDL_PAD_SD1_DAT0__SD1_DATA0		0x17071
				MX6QDL_PAD_SD1_DAT1__SD1_DATA1		0x17071
				MX6QDL_PAD_SD1_DAT2__SD1_DATA2		0x17071
				MX6QDL_PAD_SD1_DAT3__SD1_DATA3		0x17071
				MX6QDL_PAD_NANDF_D0__SD1_DATA4		0x17071
				MX6QDL_PAD_NANDF_D1__SD1_DATA5		0x17071
				MX6QDL_PAD_NANDF_D2__SD1_DATA6		0x17071
				MX6QDL_PAD_NANDF_D3__SD1_DATA7		0x17071
			>;
		};

		pinctrl_usdhc2: usdhc2grp {
			fsl,pins = <
				MX6QDL_PAD_SD2_CMD__SD2_CMD		0x17059
				MX6QDL_PAD_SD2_CLK__SD2_CLK		0x10059
				MX6QDL_PAD_SD2_DAT0__SD2_DATA0		0x17059
				MX6QDL_PAD_SD2_DAT1__SD2_DATA1		0x17059
				MX6QDL_PAD_SD2_DAT2__SD2_DATA2		0x17059
				MX6QDL_PAD_SD2_DAT3__SD2_DATA3		0x17059
			>;
		};

		pinctrl_usdhc3: usdhc3grp {
			fsl,pins = <
				MX6QDL_PAD_SD3_CMD__SD3_CMD		0x1F059
				MX6QDL_PAD_SD3_CLK__SD3_CLK		0x1F059
				MX6QDL_PAD_SD3_DAT0__SD3_DATA0		0x1F059
				MX6QDL_PAD_SD3_DAT1__SD3_DATA1		0x1F059
				MX6QDL_PAD_SD3_DAT2__SD3_DATA2		0x1F059
				MX6QDL_PAD_SD3_DAT3__SD3_DATA3		0x1F059
				MX6QDL_PAD_SD3_DAT4__GPIO7_IO01     0x1F088
 	
			>;
		};

		pinctrl_wdog: wdoggrp {
			fsl,pins = <
				MX6QDL_PAD_GPIO_1__WDOG2_B 0x80000000
			>;
		};
	};

	gpio_leds {
		pinctrl_gpio_leds: gpioledsgrp {
			fsl,pins = <
				MX6QDL_PAD_GPIO_2__GPIO1_IO02 0x1b0b0
			>;
		};
	};
};

&ldb {
	status = "okay";

	lvds-channel@0 {
		fsl,data-mapping = "spwg";
		fsl,data-width = <18>;
		status = "okay";

		display-timings {
			native-mode = <&timing0>;
			teninches-mode = <&timing1>;
			timing0: 800x480M {
				clock-frequency = <35000000>;
				hactive = <800>;
				vactive = <480>;
				hback-porch = <40>;
				hfront-porch = <40>;
				vback-porch = <29>;
				vfront-porch = <13>;
				hsync-len = <48>;
				vsync-len = <3>;
			};
			timing1: hsd100pxn1 {
				clock-frequency = <65000000>;
				hactive = <1024>;
				vactive = <768>;
				hback-porch = <220>;
				hfront-porch = <40>;
				vback-porch = <21>;
				vfront-porch = <7>;
				hsync-len = <60>;
				vsync-len = <10>;
			};
		};
	};

	lvds-channel@1 {
		fsl,data-mapping = "spwg";
		fsl,data-width = <18>;
		status = "okay";

		display-timings {
			native-mode = <&timing2>;
			teninches-mode = <&timing3>;
			timing2: 800x480M {
				clock-frequency = <35000000>;
				hactive = <800>;
				vactive = <480>;
				hback-porch = <40>;
				hfront-porch = <40>;
				vback-porch = <29>;
				vfront-porch = <13>;
				hsync-len = <48>;
				vsync-len = <3>;
			};
			timing3: hsd100pxn1 {
				clock-frequency = <65000000>;
				hactive = <1024>;
				vactive = <768>;
				hback-porch = <220>;
				hfront-porch = <40>;
				vback-porch = <21>;
				vfront-porch = <7>;
				hsync-len = <60>;
				vsync-len = <10>;
			};
		};
	};
};

&mipi_csi {
	status = "okay";
	ipu_id = <0>;
	csi_id = <1>;
	v_channel = <0>;
	lanes = <2>;
};
#if 0
&pcie {
	pinctrl-names = "default";
	pinctrl-0 = <&pinctrl_pcie>;
	reset-gpio = <&gpio4 27 0>;
};
#endif
&pwm3 {
	pinctrl-names = "default";
	pinctrl-0 = <&pinctrl_pwm3>;
 	status = "okay";
 };

&pwm4 {
	pinctrl-names = "default";
	pinctrl-0 = <&pinctrl_pwm4>;
	status = "okay";
};

&snvs_poweroff {
	status = "okay";
};

&ssi1 {
	status = "okay";
};

/* Debug UART */
&uart1 {
	pinctrl-names = "default";
	pinctrl-0 = <&pinctrl_uart1>;
	status = "okay";
};

/* RS232 port */
&uart2 {
	status = "okay";
	pinctrl-names = "default";
	pinctrl-0 = <&pinctrl_uart2>;
	fsl,uart-has-rtscts;
};

/* esomimx6 : bluetooth */
&uart3 {
	pinctrl-names = "default";
	pinctrl-0 = <&pinctrl_uart3>;
	fsl,uart-has-rtscts;
	status = "okay";
};

&usbh1 {
	vbus-supply = <&reg_usb_h1_vbus>;
	status = "okay";
};

&usbotg {
	vbus-supply = <&reg_usb_otg_vbus>;
	pinctrl-names = "default";
	pinctrl-0 = <&pinctrl_usbotg>;
	disable-over-current;
	srp-disable;
	hnp-disable;
	adp-disable;
	status = "okay";
};

&usbphy1 {
	tx-d-cal = <0x5>;
};

&usbphy2 {
	tx-d-cal = <0x5>;
};

/* eMMC */
&usdhc1 {
	pinctrl-names = "default";
	pinctrl-0 = <&pinctrl_usdhc1>;
	bus-width = <8>;
	non-removable;
	no-1-8-v;
	keep-power-in-suspend;
	status = "okay";
};

&usdhc2 {
	pinctrl-names = "default";
	pinctrl-0 = <&pinctrl_usdhc2>;
	cd-gpios = <&gpio4 25 GPIO_ACTIVE_LOW>;
	no-1-8-v;
	keep-power-in-suspend;
	enable-sdio-wakeup;
	status = "okay";



};
#if 0
/* uSDHC1, TiWi wl1271 */
&usdhc3 {
	pinctrl-names = "default";
	pinctrl-0 = <&pinctrl_usdhc3>;
	bus-width = <4>;
	non-removable;
	vmmc-supply = <&wilink_wl_en>;
	ocr-limit = <0x80>;     /* 1.65v - 1.95v */
	/*cap-power-off-card;*/
	keep-power-in-suspend;
	status = "okay";
	#address-cells = <1>;
	#size-cells = <0>;
	wlcore: wlcore@2 {
		compatible = "ti,wilink6";
		reg = <2>;
		interrupt-parent = <&gpio1>;
		interrupts = <7 IRQ_TYPE_LEVEL_HIGH>;
		ref-clock-frequency = <38400000>;
	};

};
#endif
&wdog1 {
	status = "disabled";
};

&wdog2 {
	pinctrl-names = "default";
	pinctrl-0 = <&pinctrl_wdog>;
	fsl,wdog_b;
	status = "okay";
};
